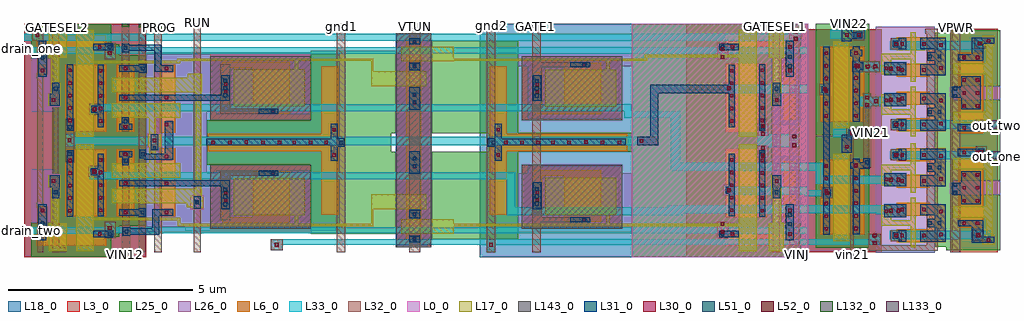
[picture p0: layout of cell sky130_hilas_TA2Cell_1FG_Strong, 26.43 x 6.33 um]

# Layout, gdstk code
from math import pi, radians
import gdstk
lib = gdstk.Library(unit=1e-6, precision=1e-09)
def R(c, l, rs):  # rectangles x0, y0, x1, y1
    for r in rs: c.add(gdstk.rectangle(r[:2], r[2:], *l))
def A(c, l, x, y, w, h, nx, ny, dx, dy):  # array of equal rectangles
    R(c, l, [(x+i*dx, y+j*dy, x+i*dx+w, y+j*dy+h) for i in range(nx) for j in range(ny)])
L0_0 = (0, 0)
L3_0 = (3, 0)
L6_0 = (6, 0)
L17_0 = (17, 0)
L18_0 = (18, 0)
L25_0 = (25, 0)
L26_0 = (26, 0)
L30_0 = (30, 0)
L31_0 = (31, 0)
L32_0 = (32, 0)
L33_0 = (33, 0)
L51_0 = (51, 0)
L52_0 = (52, 0)
L132_0 = (132, 0)
L133_0 = (133, 0)
L143_0 = (143, 0)

sky130_hilas_pfetmirror0 = lib.new_cell('sky130_hilas_pFETmirror02')
R(sky130_hilas_pfetmirror0, L3_0, [(0.14,0.14,1.39,2.98)])
R(sky130_hilas_pfetmirror0, L6_0, [(0.32,0.61,1,1.49), (0.32,1.49,1,1.9), (0.32,1.9,1,2.79)])
R(sky130_hilas_pfetmirror0, L17_0, [(0.97,0.15,1.3,0.42), (1.08,0.37,1.25,0.89), (0.18,0.89,1.25,1.19), (1.08,1.19,1.25,2.2), (0.18,2.2,1.25,2.5)])
R(sky130_hilas_pfetmirror0, L25_0, [(0,0,1.45,1.51), (0,1.88,1.45,2.92)])
R(sky130_hilas_pfetmirror0, L26_0, [(0.18,1.51,1.45,1.88)])
R(sky130_hilas_pfetmirror0, L30_0, [(1.09,0.24,1.18,0.33), (0.435,0.69,0.525,0.78), (0.795,0.69,0.885,0.78), (0.435,1.3,0.525,1.39), (0.795,1.3,0.885,1.39), (0.435,1.65,0.525,1.74), (0.795,1.65,0.885,1.74), (0.435,2.005,0.525,2.095), (0.795,2.005,0.885,2.095), (0.435,2.605,0.525,2.695), (0.795,2.605,0.885,2.695)])
R(sky130_hilas_pfetmirror0, L31_0, [(0.69,0.2,0.99,0.37), (0.97,0.2,1.3,0.37), (0.69,0.37,0.99,0.65), (0.32,0.65,0.99,0.82), (0.395,1.25,0.925,2.145), (0.31,2.55,1.015,2.74)])

m2_m1_cdns_676221289322 = lib.new_cell('M2_M1_CDNS_676221289322')
R(m2_m1_cdns_676221289322, L31_0, [(-0.09,-0.09,0.09,0.09)])
R(m2_m1_cdns_676221289322, L32_0, [(-0.115,-0.115,0.115,0.115)])
R(m2_m1_cdns_676221289322, L51_0, [(-0.05,-0.05,0.05,0.05)])

m3_m2_cdns_676221289323 = lib.new_cell('M3_M2_CDNS_676221289323')
R(m3_m2_cdns_676221289323, L32_0, [(-0.115,-0.115,0.115,0.115)])
R(m3_m2_cdns_676221289323, L33_0, [(-0.09,-0.09,0.09,0.09)])
R(m3_m2_cdns_676221289323, L52_0, [(-0.05,-0.05,0.05,0.05)])

sky130_hilas_li2m2 = lib.new_cell('sky130_hilas_li2m2')
R(sky130_hilas_li2m2, L32_0, [(-0.11,-0.125,0.19,0.175)])
R(sky130_hilas_li2m2, L33_0, [(-0.11,-0.125,0.19,0.175)])
sky130_hilas_li2m2.add(gdstk.Reference(m2_m1_cdns_676221289322, (0.04,0.02)))
sky130_hilas_li2m2.add(gdstk.Reference(m3_m2_cdns_676221289323, (0.04,0.02)))

sky130_hilas_nfet03 = lib.new_cell('sky130_hilas_nFET03')
R(sky130_hilas_nfet03, L6_0, [(-0.31,-0.06,0.58,0.29), (0.1,0,0.4,0.2)])
R(sky130_hilas_nfet03, L17_0, [(0.07,-0.2,0.2,0.43), (0.1,0.1,0.2,0.2)])
R(sky130_hilas_nfet03, L26_0, [(-0.44,-0.36,0.725,0.58)])
R(sky130_hilas_nfet03, L30_0, [(-0.205,0.07,-0.115,0.16), (0.385,0.07,0.475,0.16)])
R(sky130_hilas_nfet03, L31_0, [(-0.26,-0.03,-0.06,0.28), (0.33,-0.02,0.53,0.28), (-0.2,0.1,-0.1,0.2), (0.4,0.1,0.5,0.2)])

m2_m1_cdns_676221289320 = lib.new_cell('M2_M1_CDNS_676221289320')
R(m2_m1_cdns_676221289320, L31_0, [(-0.19,-0.09,0.19,0.09)])
R(m2_m1_cdns_676221289320, L32_0, [(-0.19,-0.09,0.19,0.09)])
R(m2_m1_cdns_676221289320, L51_0, [(-0.15,-0.05,-0.05,0.05), (0.05,-0.05,0.15,0.05)])

m3_m2_cdns_676221289321 = lib.new_cell('M3_M2_CDNS_676221289321')
R(m3_m2_cdns_676221289321, L32_0, [(-0.19,-0.09,0.19,0.09)])
R(m3_m2_cdns_676221289321, L33_0, [(-0.19,-0.09,0.19,0.09)])
R(m3_m2_cdns_676221289321, L52_0, [(-0.15,-0.05,-0.05,0.05), (0.05,-0.05,0.15,0.05)])

sky130_hilas_nmirror03 = lib.new_cell('sky130_hilas_nMirror03')
R(sky130_hilas_nmirror03, L6_0, [(0.565,0.33,1.605,0.34), (1.6,0.33,1.89,1.36), (1.45,0.34,1.6,1.35), (0.565,1.35,1.605,1.36)])
R(sky130_hilas_nmirror03, L17_0, [(0.945,0.19,1.075,0.21), (0.945,0.33,1.075,0.34), (0.15,0.36,0.42,0.69), (0.15,0.69,0.42,0.77), (0.15,0.77,1.075,0.92), (0.15,0.77,0.895,0.82), (0.945,1.35,1.075,1.36), (0.945,1.48,1.075,1.5)])
R(sky130_hilas_nmirror03, L25_0, [(1.6,0.2,1.91,1.49)])
R(sky130_hilas_nmirror03, L26_0, [(0,0.04,0.435,1.65), (0.435,0.205,1.6,0.465), (1.325,0.465,1.6,0.815), (0.435,0.815,1.6,0.875), (1.325,0.875,1.6,1.225), (0.435,1.225,1.6,1.485)])
R(sky130_hilas_nmirror03, L30_0, [(0.24,0.48,0.33,0.57), (1.715,0.49,1.805,0.58), (1.715,1.11,1.805,1.2)])
R(sky130_hilas_nmirror03, L31_0, [(0.225,0.33,0.815,0.69), (1.4,0.34,1.89,0.64), (0.225,0.36,0.445,0.69), (1.6,0.38,1.89,1.35), (1.41,0.73,1.6,0.96), (1.4,1.05,1.89,1.35)])
R(sky130_hilas_nmirror03, L32_0, [(0.225,0.33,0.815,0.69), (1.39,0.7,1.69,1), (1.39,0.7,1.77,1)])
R(sky130_hilas_nmirror03, L33_0, [(0.225,0.33,0.815,0.69), (0.02,0.435,0.39,0.61)])
R(sky130_hilas_nmirror03, L51_0, [(1.41,0.795,1.51,0.895), (1.67,0.795,1.77,0.895)])
sky130_hilas_nmirror03.add(gdstk.Reference(sky130_hilas_li2m2, (0.51,1.16)))
sky130_hilas_nmirror03.add(gdstk.Reference(sky130_hilas_nfet03, (0.875,0.36)))
sky130_hilas_nmirror03.add(gdstk.Reference(sky130_hilas_nfet03, (0.875,1.07)))
sky130_hilas_nmirror03.add(gdstk.Reference(m2_m1_cdns_676221289320, (0.51,0.51)))
sky130_hilas_nmirror03.add(gdstk.Reference(m3_m2_cdns_676221289321, (0.51,0.51)))

sky130_hilas_dualtacore0 = lib.new_cell('sky130_hilas_DualTACore01')
R(sky130_hilas_dualtacore0, L25_0, [(2.015,0.55,2.09,1.45), (1.6,1.45,2.09,1.67), (1.91,1.67,2.09,2.95), (1.6,2.95,2.105,2.98), (1.6,2.98,3.36,3.11), (1.6,3.11,2.105,3.17), (1.91,3.17,2.09,4.45), (1.6,4.45,2.09,4.67), (2.015,4.67,2.09,5.54)])
A(sky130_hilas_dualtacore0, L26_0, 0.435, 1.45, 1.165, 0.22, 1, 3, 0, 1.5)
R(sky130_hilas_dualtacore0, L31_0, [(2.055,1.575,2.34,1.895), (2.055,4.195,2.32,4.495)])
R(sky130_hilas_dualtacore0, L32_0, [(1.38,0.205,1.68,5.925), (2.01,0.215,2.28,5.915), (2.035,1.575,2.265,1.895), (2.035,4.195,2.265,4.495)])
R(sky130_hilas_dualtacore0, L33_0, [(0.38,0.365,3.09,0.595), (0.39,2.535,3.3,2.755), (0.65,3.355,3.3,3.585), (0.39,5.495,2.94,5.725)])
R(sky130_hilas_dualtacore0, L51_0, [(2.1,1.575,2.2,1.675), (2.1,1.795,2.2,1.895), (2.1,4.195,2.2,4.295), (2.1,4.395,2.2,4.495)])
sky130_hilas_dualtacore0.add(gdstk.Reference(sky130_hilas_pfetmirror0, (1.91,6.025), x_reflection=True))
sky130_hilas_dualtacore0.add(gdstk.Reference(sky130_hilas_pfetmirror0, (1.91,0.065)))
sky130_hilas_dualtacore0.add(gdstk.Reference(sky130_hilas_nmirror03, (0,4.47)))
sky130_hilas_dualtacore0.add(gdstk.Reference(sky130_hilas_nmirror03, (0,4.655), x_reflection=True))
sky130_hilas_dualtacore0.add(gdstk.Reference(sky130_hilas_nmirror03, (0,1.465)))
sky130_hilas_dualtacore0.add(gdstk.Reference(sky130_hilas_nmirror03, (0,1.65), x_reflection=True))
sky130_hilas_dualtacore0.add(gdstk.Reference(sky130_hilas_li2m2, (2.82,3.425)))
sky130_hilas_dualtacore0.add(gdstk.Reference(sky130_hilas_li2m2, (2.81,2.705)))
sky130_hilas_dualtacore0.add(gdstk.Reference(sky130_hilas_li2m2, (2.77,5.645)))
sky130_hilas_dualtacore0.add(gdstk.Reference(sky130_hilas_li2m2, (2.73,0.455)))

sky130_hilas_horiztransc = lib.new_cell('sky130_hilas_horizTransCell01')
R(sky130_hilas_horiztransc, L0_0, [(3.815,1.86,4.185,2.23)])
R(sky130_hilas_horiztransc, L3_0, [(1.485,-0.02,4.785,3.24)])
R(sky130_hilas_horiztransc, L6_0, [(2.555,0.29,4.455,0.76), (4.12,1.05,4.45,2.585), (2.555,1.07,3.665,2.91)])
R(sky130_hilas_horiztransc, L17_0, [(2.895,0.15,3.395,0.88), (3.715,0.15,4.115,0.9), (0.355,0.83,3.395,0.89), (2.895,0.855,3.395,3.05), (3.825,0.9,4.115,0.92), (3.825,0.92,4.055,1.58), (3.785,1.58,4.055,1.87), (3.785,1.87,4.055,2.21)])
R(sky130_hilas_horiztransc, L25_0, [(0,0,4.585,0.92), (0,0.92,3.795,3.2)])
R(sky130_hilas_horiztransc, L26_0, [(3.795,0.92,4.58,2.715)])
A(sky130_hilas_horiztransc, L30_0, 3.495, 1.2, 0.09, 0.09, 1, 5, 0, 0.34)
A(sky130_hilas_horiztransc, L30_0, 2.665, 1.21, 0.09, 0.09, 1, 5, 0, 0.34)
R(sky130_hilas_horiztransc, L30_0, [(2.69,0.57,2.78,0.66), (4.24,0.57,4.33,0.66), (4.24,1.205,4.33,1.295), (3.885,2,3.975,2.09)])
R(sky130_hilas_horiztransc, L31_0, [(4.175,0.45,4.395,0.8), (2.375,0.53,2.905,0.7), (4.175,0.8,4.395,0.83), (4.175,0.83,4.395,1.41), (3.455,1.08,3.625,2.69), (2.625,1.09,2.795,2.78), (4.175,1.41,4.395,1.42), (3.825,1.58,4.025,1.59), (3.825,1.59,4.025,1.88), (3.815,1.88,4.055,2.21), (3.455,2.69,3.625,2.88)])
R(sky130_hilas_horiztransc, L32_0, [(3.825,0.13,4.015,1.58), (4.265,0.13,4.435,0.77), (2.315,0.5,2.615,0.94), (4.155,0.77,4.435,1.32), (4.155,1.32,4.435,1.37), (4.265,1.37,4.435,1.46), (4.265,1.46,4.435,3.15), (3.825,1.58,4.055,1.61), (3.805,1.61,4.055,1.88), (3.815,1.88,4.055,1.89), (3.815,1.89,4.045,2.13), (3.815,2.13,4.045,3.15), (3.425,2.56,3.665,2.94)])
R(sky130_hilas_horiztransc, L33_0, [(2.315,0.61,2.615,0.62), (2.315,0.62,4.785,0.8), (2.315,0.8,2.615,0.94)])
R(sky130_hilas_horiztransc, L51_0, [(2.415,0.565,2.515,0.665), (4.23,0.835,4.33,0.935), (4.23,1.085,4.33,1.185), (3.875,1.695,3.975,1.795), (3.495,2.735,3.595,2.835)])
R(sky130_hilas_horiztransc, L52_0, [(2.415,0.615,2.515,0.715), (2.415,0.835,2.515,0.935)])

sky130_hilas_tuncap01 = lib.new_cell('sky130_hilas_TunCap01')
R(sky130_hilas_tuncap01, L3_0, [(0,0,0.94,1.645)])
R(sky130_hilas_tuncap01, L6_0, [(0.27,0.16,0.67,1.485)])
R(sky130_hilas_tuncap01, L18_0, [(0,0,0.94,1.645)])
R(sky130_hilas_tuncap01, L26_0, [(0,0,0.835,1.645)])

m2_m1_cdns_676221289324 = lib.new_cell('M2_M1_CDNS_676221289324')
R(m2_m1_cdns_676221289324, L31_0, [(-0.09,-0.09,0.09,0.09)])
R(m2_m1_cdns_676221289324, L32_0, [(-0.115,-0.115,0.115,0.115)])
R(m2_m1_cdns_676221289324, L51_0, [(-0.05,-0.05,0.05,0.05)])

m3_m2_cdns_676221289325 = lib.new_cell('M3_M2_CDNS_676221289325')
R(m3_m2_cdns_676221289325, L32_0, [(-0.115,-0.115,0.115,0.115)])
R(m3_m2_cdns_676221289325, L33_0, [(-0.09,-0.09,0.09,0.09)])
R(m3_m2_cdns_676221289325, L52_0, [(-0.05,-0.05,0.05,0.05)])

sky130_hilas_li2m2_0 = lib.new_cell('sky130_hilas_li2m2_0')
R(sky130_hilas_li2m2_0, L32_0, [(-0.11,-0.125,0.19,0.175)])
R(sky130_hilas_li2m2_0, L33_0, [(-0.11,-0.125,0.19,0.175)])
sky130_hilas_li2m2_0.add(gdstk.Reference(m2_m1_cdns_676221289324, (0.04,0.02)))
sky130_hilas_li2m2_0.add(gdstk.Reference(m3_m2_cdns_676221289325, (0.04,0.02)))

m1_od_cdns_676221289326 = lib.new_cell('M1_OD_CDNS_676221289326')
R(m1_od_cdns_676221289326, L6_0, [(-0.075,-0.18,0.075,0.18)])
R(m1_od_cdns_676221289326, L30_0, [(-0.045,-0.15,0.045,-0.06), (-0.045,0.06,0.045,0.15)])
R(m1_od_cdns_676221289326, L31_0, [(-0.085,-0.19,0.085,0.19)])

m2_m1_cdns_676221289327 = lib.new_cell('M2_M1_CDNS_676221289327')
R(m2_m1_cdns_676221289327, L31_0, [(-0.09,-0.29,0.09,0.29)])
R(m2_m1_cdns_676221289327, L32_0, [(-0.09,-0.29,0.09,0.29)])
A(m2_m1_cdns_676221289327, L51_0, -0.05, -0.25, 0.1, 0.1, 1, 3, 0, 0.2)

sky130_hilas_fgvaractorc = lib.new_cell('sky130_hilas_FGVaractorCapacitor02')
R(sky130_hilas_fgvaractorc, L3_0, [(0,0,2.72,1.735)])
R(sky130_hilas_fgvaractorc, L6_0, [(1.15,0.18,2.15,1.425), (0.33,0.43,0.55,1.425), (0.33,1.425,2.15,1.575)])
R(sky130_hilas_fgvaractorc, L17_0, [(0.64,0.375,2.56,1.375)])
R(sky130_hilas_fgvaractorc, L18_0, [(0,0,2.72,1.735)])
R(sky130_hilas_fgvaractorc, L26_0, [(0.17,0.16,2.72,1.695)])
R(sky130_hilas_fgvaractorc, L30_0, [(1.65,0.195,1.74,0.285)])
R(sky130_hilas_fgvaractorc, L31_0, [(1.32,0.17,1.85,0.305), (0.3,0.52,0.53,1.21)])
R(sky130_hilas_fgvaractorc, L32_0, [(0.28,0.17,0.54,0.49), (0.285,0.17,1.85,0.305), (0.28,0.47,0.54,1.26)])
R(sky130_hilas_fgvaractorc, L51_0, [(1.645,0.19,1.745,0.29)])
R(sky130_hilas_fgvaractorc, L143_0, [(0,0,2.72,1.735)])
sky130_hilas_fgvaractorc.add(gdstk.Reference(m1_od_cdns_676221289326, (0.42,0.87)))
sky130_hilas_fgvaractorc.add(gdstk.Reference(m2_m1_cdns_676221289327, (0.41,0.875)))

m1_od_cdns_676221289328 = lib.new_cell('M1_OD_CDNS_676221289328')
R(m1_od_cdns_676221289328, L6_0, [(-0.075,-0.18,0.075,0.18)])
R(m1_od_cdns_676221289328, L30_0, [(-0.045,-0.15,0.045,-0.06), (-0.045,0.06,0.045,0.15)])
R(m1_od_cdns_676221289328, L31_0, [(-0.085,-0.19,0.085,0.19)])

m2_m1_cdns_676221289329 = lib.new_cell('M2_M1_CDNS_676221289329')
R(m2_m1_cdns_676221289329, L31_0, [(-0.09,-0.19,0.09,0.19)])
R(m2_m1_cdns_676221289329, L32_0, [(-0.09,-0.19,0.09,0.19)])
R(m2_m1_cdns_676221289329, L51_0, [(-0.05,-0.15,0.05,-0.05), (-0.05,0.05,0.05,0.15)])

sky130_hilas_wellcontact = lib.new_cell('sky130_hilas_wellContact')
R(sky130_hilas_wellcontact, L3_0, [(-14.125,-4.57,-13.185,-2.84)])
R(sky130_hilas_wellcontact, L6_0, [(-13.855,-4.05,-13.455,-3.31)])
R(sky130_hilas_wellcontact, L18_0, [(-14.125,-4.57,-13.185,-2.84)])
R(sky130_hilas_wellcontact, L26_0, [(-13.96,-4.175,-13.345,-3.185)])
R(sky130_hilas_wellcontact, L31_0, [(-13.78,-4,-13.48,-3.395)])
R(sky130_hilas_wellcontact, L32_0, [(-13.78,-4.515,-13.48,-2.84)])
sky130_hilas_wellcontact.add(gdstk.Reference(m1_od_cdns_676221289328, (-13.635,-3.7)))
sky130_hilas_wellcontact.add(gdstk.Reference(m2_m1_cdns_676221289329, (-13.635,-3.695)))

sky130_hilas_fgbias2x1ce = lib.new_cell('sky130_hilas_FGBias2x1cell')
R(sky130_hilas_fgbias2x1ce, L0_0, [(6.745,0,11.53,3.26), (6.745,3.07,11.53,6.33)])
R(sky130_hilas_fgbias2x1ce, L3_0, [(0.515,1.54,1.16,3.96), (10.57,6.15,10.76,6.18), (8.23,6.18,11.53,6.19)])
R(sky130_hilas_fgbias2x1ce, L6_0, [(9.34,1.135,10.34,2.89), (2.9,1.15,3.37,2.99), (0.645,1.54,1.045,3.96), (3.01,2.88,6.63,3.35), (2.9,3.24,3.37,5.17)])
R(sky130_hilas_fgbias2x1ce, L17_0, [(0.505,0.635,1.935,1.035), (0.81,0.85,7.27,0.91), (6.06,0.865,6.16,1.785), (6.06,4.445,6.16,5.38), (0.505,5.31,1.935,5.71), (1.65,5.32,7.175,5.38), (7.1,5.32,7.175,5.48)])
R(sky130_hilas_fgbias2x1ce, L18_0, [(8.23,0,11.53,6.33), (0.375,1.905,1.315,1.975)])
R(sky130_hilas_fgbias2x1ce, L25_0, [(1.335,0.485,3.68,2.865), (2.88,2.86,6.985,3.37), (1.335,3.365,3.68,5.86)])
R(sky130_hilas_fgbias2x1ce, L26_0, [(1.21,0.485,1.335,1.79), (0.78,1.415,0.96,1.805), (1.21,1.79,1.315,1.925), (1.315,1.79,1.335,4.565), (0.78,1.805,0.96,2.095), (0.375,1.925,1.315,4.42), (0.78,2.095,0.96,4.085), (1.21,4.42,1.315,4.565), (1.21,4.565,1.335,5.86)])
R(sky130_hilas_fgbias2x1ce, L30_0, [(3.09,2.73,3.18,2.82), (3.3,3.07,3.39,3.16), (3.73,3.07,3.82,3.16), (4.17,3.07,4.26,3.16), (4.57,3.07,4.66,3.16), (5.01,3.07,5.1,3.16), (5.91,3.07,6,3.16), (6.37,3.07,6.46,3.16), (5.47,3.08,5.56,3.17), (3.09,3.41,3.18,3.5)])
R(sky130_hilas_fgbias2x1ce, L31_0, [(4.07,1.99,4.3,2.03), (3.04,2.61,3.23,3.03), (2.85,2.99,3.04,3.22), (3.04,3.03,6.59,3.21), (3.04,3.21,3.23,3.62)])
R(sky130_hilas_fgbias2x1ce, L32_0, [(0.72,0.14,1.02,6.19), (2.83,0.14,3.06,6.19), (4.05,0.14,4.28,6.19), (10.57,0.14,10.76,0.19), (11.01,0.14,11.29,6.19), (10.16,2.7,10.44,3.02), (2.83,2.96,3.06,3.25), (11.01,3.02,11.29,3.34), (10.16,3.3,10.44,3.62), (10.57,6.15,10.76,6.19)])
R(sky130_hilas_fgbias2x1ce, L33_0, [(0,0.66,9.1,0.76), (0,0.76,9.22,0.81), (9.06,0.81,9.22,0.83), (9.49,1.7,11.53,1.91), (10.16,2.7,10.44,3.01), (10.16,2.98,11.29,3.33), (11.01,3.05,11.29,3.33), (10.16,3.33,10.44,3.61), (9.47,4.45,11.53,4.67), (0,5.51,9.12,5.69)])
R(sky130_hilas_fgbias2x1ce, L51_0, [(2.96,3.055,3.06,3.155)])
R(sky130_hilas_fgbias2x1ce, L52_0, [(10.25,2.7,10.35,2.8), (10.25,2.92,10.35,3.02), (11.1,2.985,11.2,3.085), (11.1,3.225,11.2,3.325), (10.25,3.3,10.35,3.4), (10.25,3.505,10.35,3.605)])
sky130_hilas_fgbias2x1ce.add(gdstk.Reference(sky130_hilas_horiztransc, (6.745,0.02)))
sky130_hilas_fgbias2x1ce.add(gdstk.Reference(sky130_hilas_horiztransc, (6.745,6.31), x_reflection=True))
sky130_hilas_fgbias2x1ce.add(gdstk.Reference(sky130_hilas_tuncap01, (0.375,0.31)))
sky130_hilas_fgbias2x1ce.add(gdstk.Reference(sky130_hilas_tuncap01, (0.375,4.42)))
sky130_hilas_fgbias2x1ce.add(gdstk.Reference(sky130_hilas_li2m2_0, (9.34,4.56)))
sky130_hilas_fgbias2x1ce.add(gdstk.Reference(sky130_hilas_li2m2_0, (9.34,1.8)))
sky130_hilas_fgbias2x1ce.add(gdstk.Reference(sky130_hilas_fgvaractorc, (3.77,0.78)))
sky130_hilas_fgbias2x1ce.add(gdstk.Reference(sky130_hilas_fgvaractorc, (3.77,5.45), x_reflection=True))
sky130_hilas_fgbias2x1ce.add(gdstk.Reference(sky130_hilas_wellcontact, (14.5,6.27)))
sky130_hilas_fgbias2x1ce.add(gdstk.Reference(sky130_hilas_wellcontact, (14.5,8)))

c_sky130_hilas_horiztransc = lib.new_cell('sky130_hilas_horizTransCell01a')
R(c_sky130_hilas_horiztransc, L0_0, [(3.97,1.88,4.34,2.25)])
R(c_sky130_hilas_horiztransc, L3_0, [(1.64,0,4.95,3.26)])
R(c_sky130_hilas_horiztransc, L6_0, [(2.72,0.31,4.62,0.78), (4.32,1.115,4.585,1.39), (0.86,1.12,1.28,2.95), (1.97,1.12,2.44,2.93), (2.72,1.12,3.83,2.93)])
R(c_sky130_hilas_horiztransc, L17_0, [(3.06,0.17,3.54,1.07), (3.79,0.17,4.28,0.92), (3.99,0.92,4.28,0.94), (3.99,0.94,4.22,1.6), (0.72,1.01,3.54,1.07), (3.06,1.01,3.54,3.07), (0.72,1.46,2.58,1.86), (3.95,1.6,4.22,1.91), (3.95,1.9,4.3,2.23), (0.72,2.15,2.58,2.55)])
R(c_sky130_hilas_horiztransc, L18_0, [(1.64,0,4.95,3.26), (0.59,0.82,1.64,3.2)])
R(c_sky130_hilas_horiztransc, L25_0, [(2.59,0.02,4.75,0.555), (2.37,0.555,4.75,0.94), (1.64,0.86,4.155,3.22), (2.37,0.905,3.955,0.965)])
R(c_sky130_hilas_horiztransc, L26_0, [(0,0.775,1.64,3.3), (4.155,0.94,4.745,2.38)])
A(c_sky130_hilas_horiztransc, L30_0, 2.16, 1.17, 0.09, 0.09, 1, 3, 0, 0.79)
A(c_sky130_hilas_horiztransc, L30_0, 3.66, 1.22, 0.09, 0.09, 1, 5, 0, 0.34)
A(c_sky130_hilas_horiztransc, L30_0, 2.83, 1.23, 0.09, 0.09, 1, 5, 0, 0.34)
R(c_sky130_hilas_horiztransc, L30_0, [(2.855,0.59,2.945,0.68), (4.405,0.59,4.495,0.68), (1.05,1.17,1.14,1.26), (4.405,1.225,4.495,1.315), (1.05,1.96,1.14,2.05), (4.11,2.02,4.2,2.11), (1.05,2.685,1.14,2.775)])
A(c_sky130_hilas_horiztransc, L31_0, 2.04, 1.13, 0.33, 0.17, 1, 3, 0, 0.79)
R(c_sky130_hilas_horiztransc, L31_0, [(4.35,0.47,4.55,0.82), (2.54,0.55,3.07,0.72), (4.35,0.82,4.56,0.85), (4.34,0.85,4.56,1.43), (3.62,1.1,3.79,2.71), (2.79,1.11,2.96,2.8), (0.915,1.13,1.265,1.3), (4.34,1.43,4.56,1.44), (3.99,1.6,4.19,1.61), (3.99,1.61,4.19,1.9), (3.98,1.9,4.25,2.23), (0.915,1.92,1.265,2.09), (0.915,2.64,1.14,2.88), (3.62,2.71,3.79,2.9)])
R(c_sky130_hilas_horiztransc, L32_0, [(3.99,0.15,4.18,1.6), (4.43,0.15,4.59,0.79), (2.47,0.52,2.77,0.96), (4.32,0.79,4.59,1.34), (4.32,1.34,4.6,1.39), (4.43,1.39,4.6,1.48), (4.43,1.48,4.59,3.17), (3.99,1.6,4.22,1.63), (3.97,1.63,4.22,1.9), (3.98,1.9,4.22,1.91), (3.98,1.91,4.21,2.15), (4.02,2.15,4.18,3.17), (3.59,2.58,3.83,2.96)])
R(c_sky130_hilas_horiztransc, L33_0, [(2.47,0.63,2.78,0.64), (2.47,0.64,4.95,0.82), (2.47,0.82,2.77,0.96)])
R(c_sky130_hilas_horiztransc, L51_0, [(2.58,0.585,2.68,0.685), (4.395,0.885,4.495,0.985), (4.04,1.715,4.14,1.815), (3.66,2.755,3.76,2.855)])
R(c_sky130_hilas_horiztransc, L52_0, [(2.58,0.75,2.68,0.85)])

sky130_hilas_poly2m1 = lib.new_cell('sky130_hilas_poly2m1')
R(sky130_hilas_poly2m1, L0_0, [(-0.11,-0.1,0.26,0.27)])
R(sky130_hilas_poly2m1, L17_0, [(-0.09,-0.08,0.24,0.25)])
R(sky130_hilas_poly2m1, L30_0, [(0.03,0.04,0.12,0.13)])
R(sky130_hilas_poly2m1, L31_0, [(-0.03,-0.18,0.18,0.25), (-0.01,-0.18,0.16,-0.165)])
R(sky130_hilas_poly2m1, L32_0, [(-0.03,-0.26,0.18,0.03), (-0.03,0.03,0.18,0.25)])
R(sky130_hilas_poly2m1, L51_0, [(0.025,-0.165,0.125,-0.065)])

sky130_hilas_fgtrans2x1c = lib.new_cell('sky130_hilas_FGtrans2x1cell')
R(sky130_hilas_fgtrans2x1c, L0_0, [(6.02,1.31,6.39,1.68)])
R(sky130_hilas_fgtrans2x1c, L6_0, [(2.37,1.15,2.84,2.99), (2.37,2.88,5.92,3.35), (2.37,3.24,2.84,5.17)])
R(sky130_hilas_fgtrans2x1c, L17_0, [(1.435,0.85,6.73,0.91), (3.46,0.89,3.56,1.785), (6.66,0.9,6.73,1.055), (1.435,0.905,1.495,1.69), (0,1.305,1.495,1.705), (6.04,1.33,6.32,1.36), (6.04,1.36,6.48,1.63), (6.08,1.63,6.48,1.86), (6.09,1.86,6.24,4.47), (7.32,2.525,7.5,3.81), (3.46,4.445,3.56,5.345), (6.08,4.47,6.46,4.97), (0,4.64,1.495,5.04), (1.435,4.665,1.495,5.35), (1.435,5.32,6.735,5.38)])
R(sky130_hilas_fgtrans2x1c, L18_0, [(2.345,0.72,6.53,5.51)])
R(sky130_hilas_fgtrans2x1c, L25_0, [(0.83,0.64,3.13,2.865), (0.95,2.515,5.94,3.715), (7.825,3.055,9.895,3.275), (0.83,3.365,3.13,5.59)])
R(sky130_hilas_fgtrans2x1c, L26_0, [(6.51,3.055,7.115,3.275)])
R(sky130_hilas_fgtrans2x1c, L30_0, [(6.165,1.45,6.255,1.54), (2.45,2.73,2.54,2.82), (2.66,3.07,2.75,3.16), (3.09,3.07,3.18,3.16), (3.53,3.07,3.62,3.16), (3.93,3.07,4.02,3.16), (4.37,3.07,4.46,3.16), (5.27,3.07,5.36,3.16), (5.73,3.07,5.82,3.16), (4.83,3.08,4.92,3.17), (2.45,3.41,2.54,3.5)])
R(sky130_hilas_fgtrans2x1c, L31_0, [(8.03,0.59,8.21,0.82), (7.23,0.61,8.19,0.79), (7.23,0.79,7.42,1.13), (7.6,1.1,7.78,1.33), (6.96,1.13,7.42,1.14), (7.77,1.13,7.98,1.3), (6.95,1.14,7.42,1.29), (6.96,1.29,7.42,1.3), (6.11,1.32,6.29,1.39), (6.11,1.39,6.29,1.6), (6.11,1.6,6.29,1.66), (5.32,1.92,6.935,2.09), (6.94,1.92,8.02,2.09), (8.05,2.5,8.23,2.73), (2.4,2.61,2.59,3.03), (6.855,2.65,7.63,2.77), (7.59,2.68,7.77,2.91), (7.96,2.71,8.01,2.88), (6.865,2.77,7.59,2.81), (6.88,2.85,6.96,2.86), (6.855,2.88,7.08,3.45), (2.22,2.99,2.4,3.22), (2.4,3.03,5.95,3.21), (2.4,3.21,2.59,3.62), (7.96,3.45,8.04,3.62), (8.05,3.57,8.24,3.8), (5.375,4.24,6.91,4.41), (6.94,4.24,8.02,4.41), (7.58,5,7.77,5.23), (6.96,5.03,7.35,5.2), (7.76,5.03,7.98,5.2), (7.18,5.2,7.35,5.59), (8.05,5.56,8.24,5.79), (7.18,5.59,8.06,5.76)])
R(sky130_hilas_fgtrans2x1c, L32_0, [(2.19,0.14,2.42,6.19), (6.11,0.14,6.29,1.32), (7.16,0.14,7.37,6.19), (7.59,0.14,7.78,6.19), (8.01,0.14,8.24,0.64), (9.93,0.14,10.12,0.19), (10.37,0.14,10.53,0.19), (8.02,0.56,8.21,0.85), (8.04,0.64,8.23,2.89), (8.54,0.64,8.55,0.65), (7.59,1.07,7.78,1.36), (6.11,1.32,6.29,1.66), (8.04,1.405,8.23,1.695), (6.11,1.66,6.29,6.19), (8.04,2.47,8.23,2.76), (7.59,2.65,7.78,2.94), (9.53,2.95,9.77,3.37), (2.22,2.96,2.41,3.25), (9.53,3.01,9.77,3.33), (8.04,3.4,8.25,6.19), (8.04,3.54,8.25,3.83), (7.57,4.97,7.78,5.26), (8.04,5.53,8.25,5.82), (9.93,6.13,10.12,6.19), (10.37,6.14,10.53,6.19)])
R(sky130_hilas_fgtrans2x1c, L33_0, [(10.81,0.64,10.89,0.82), (1.07,0.66,8.46,0.76), (1.07,0.76,8.58,0.81), (8.42,0.81,8.58,0.83), (1.07,2.11,9.12,2.3), (9.53,3.01,9.77,3.33), (1.07,3.04,9.54,3.23), (1.07,3.23,9.53,3.27), (1.07,3.96,9.08,4.15), (1.07,5.51,8.48,5.69), (10.81,5.51,10.89,5.69), (8.16,5.69,8.48,5.71)])
R(sky130_hilas_fgtrans2x1c, L51_0, [(8.065,0.655,8.165,0.755), (7.635,1.165,7.735,1.265), (6.16,1.445,6.26,1.545), (8.085,2.565,8.185,2.665), (7.625,2.745,7.725,2.845), (2.255,3.055,2.355,3.155), (8.095,3.635,8.195,3.735), (7.625,5.065,7.725,5.165), (8.095,5.625,8.195,5.725)])
R(sky130_hilas_fgtrans2x1c, L52_0, [(9.61,3.12,9.71,3.22)])
sky130_hilas_fgtrans2x1c.add(gdstk.Reference(c_sky130_hilas_horiztransc, (5.94,0)))
sky130_hilas_fgtrans2x1c.add(gdstk.Reference(c_sky130_hilas_horiztransc, (5.94,6.33), x_reflection=True))
sky130_hilas_fgtrans2x1c.add(gdstk.Reference(sky130_hilas_fgvaractorc, (5.85,2.515), rotation=pi))
sky130_hilas_fgtrans2x1c.add(gdstk.Reference(sky130_hilas_fgvaractorc, (5.85,3.715), rotation=pi, x_reflection=True))
sky130_hilas_fgtrans2x1c.add(gdstk.Reference(sky130_hilas_poly2m1, (7.28,3.08)))
sky130_hilas_fgtrans2x1c.add(gdstk.Reference(sky130_hilas_li2m2_0, (8.94,3.99)))
sky130_hilas_fgtrans2x1c.add(gdstk.Reference(sky130_hilas_li2m2_0, (8.95,2.3)))

sky130_hilas_ptransistor = lib.new_cell('sky130_hilas_pTransistorVert01')
R(sky130_hilas_ptransistor, L3_0, [(-3.765,-4.44,-1.63,-1.45)])
R(sky130_hilas_ptransistor, L6_0, [(-3.29,-3.96,-2.1,-1.93), (-3.245,-3.925,-2.165,-1.975)])
R(sky130_hilas_ptransistor, L17_0, [(-2.95,-4.11,-2.51,-1.75)])
R(sky130_hilas_ptransistor, L25_0, [(-3.42,-4.59,-1.97,-1.57)])
A(sky130_hilas_ptransistor, L30_0, -2.37, -3.84, 0.09, 0.09, 1, 6, 0, 0.34)
A(sky130_hilas_ptransistor, L30_0, -3.18, -3.83, 0.09, 0.09, 1, 6, 0, 0.34)
R(sky130_hilas_ptransistor, L31_0, [(-2.41,-3.98,-2.23,-1.93), (-3.22,-3.97,-3.04,-1.92), (-2.49,-3.88,-2.16,-3.71), (-2.41,-3.71,-2.24,-1.93)])

m3_m2_cdns_6762212893210 = lib.new_cell('M3_M2_CDNS_6762212893210')
R(m3_m2_cdns_6762212893210, L32_0, [(-0.09,-0.19,0.09,0.19)])
R(m3_m2_cdns_6762212893210, L33_0, [(-0.09,-0.19,0.09,0.19)])
R(m3_m2_cdns_6762212893210, L52_0, [(-0.05,-0.15,0.05,-0.05), (-0.05,0.05,0.05,0.15)])

c_sky130_hilas_ptransistor = lib.new_cell('sky130_hilas_pTransistorPair')
R(c_sky130_hilas_ptransistor, L3_0, [(2.67,-1.69,3.12,-1.46), (1.195,-1.4,3.33,-1.33)])
R(c_sky130_hilas_ptransistor, L17_0, [(2.25,-4.395,2.52,-4.025), (2.27,-4.07,2.48,-4.06), (2.25,-1.37,2.52,-1)])
R(c_sky130_hilas_ptransistor, L18_0, [(1.195,-4.39,3.33,1.65)])
R(c_sky130_hilas_ptransistor, L30_0, [(2.345,-4.275,2.435,-4.185), (2.345,-1.25,2.435,-1.16)])
R(c_sky130_hilas_ptransistor, L31_0, [(2.25,-4.485,2.52,-4.355), (2.25,-4.395,2.52,-4.065), (2.49,-4.31,2.655,-4.135), (2.73,-3.49,2.83,-3.465), (2.55,-3.465,2.83,-3.29), (2.79,-3.29,2.83,-3.28), (1.74,-1.92,1.92,-0.86), (2.25,-1.525,2.52,-1.33), (2.25,-1.37,2.52,-1.04), (2.83,-0.9,3.01,-0.67), (2.79,-0.78,2.87,-0.7), (2.79,-0.7,3.01,-0.61)])
R(c_sky130_hilas_ptransistor, L32_0, [(2.84,-3.525,3.27,-3.225), (2.83,-2.65,3.04,-0.88), (2.83,-2.54,3.04,-2.22), (2.83,-0.93,3.04,-0.64)])
R(c_sky130_hilas_ptransistor, L33_0, [(2.01,-4.37,2.88,-4.13), (2.55,-3.525,3.27,-3.225), (2.73,-2.555,3.2,-2.305), (2.83,-2.555,3.065,-2.305), (2.25,-1.69,3.12,-1.46)])
R(c_sky130_hilas_ptransistor, L51_0, [(2.875,-0.835,2.975,-0.735)])
c_sky130_hilas_ptransistor.add(gdstk.Reference(sky130_hilas_li2m2_0, (1.75,-2.78)))
c_sky130_hilas_ptransistor.add(gdstk.Reference(sky130_hilas_li2m2_0, (2.75,-4.21), rotation=pi))
c_sky130_hilas_ptransistor.add(gdstk.Reference(sky130_hilas_li2m2_0, (2.48,-1.59)))
c_sky130_hilas_ptransistor.add(gdstk.Reference(sky130_hilas_li2m2_0, (2.72,-3.365), rotation=pi))
c_sky130_hilas_ptransistor.add(gdstk.Reference(sky130_hilas_ptransistor, (4.96,0.05)))
c_sky130_hilas_ptransistor.add(gdstk.Reference(sky130_hilas_ptransistor, (4.96,3.1)))
c_sky130_hilas_ptransistor.add(gdstk.Reference(m3_m2_cdns_676221289321, (3.05,-3.375)))
c_sky130_hilas_ptransistor.add(gdstk.Reference(m3_m2_cdns_6762212893210, (2.935,-2.44)))

sky130_hilas_ta2cell_1fg = lib.new_cell('sky130_hilas_TA2Cell_1FG_Strong')
R(sky130_hilas_ta2cell_1fg, L3_0, [(25.115,0.14,26.365,0.33), (5.04,0.72,7.76,0.78), (5.04,5.45,7.76,5.51), (0.22,5.87,0.52,6.19), (20.735,5.87,21.055,6.17), (25.115,6.01,26.365,6.19)])
R(sky130_hilas_ta2cell_1fg, L6_0, [(10.515,2.27,10.635,4.465)])
R(sky130_hilas_ta2cell_1fg, L17_0, [(4.23,1.46,4.445,1.86), (4.23,4.47,4.43,4.87)])
R(sky130_hilas_ta2cell_1fg, L18_0, [(12.335,0,21.235,6.33)])
R(sky130_hilas_ta2cell_1fg, L26_0, [(10.06,0.28,10.08,1.92), (3.31,0.7,7.76,0.775), (13.385,0.7,16.45,0.95), (4.95,0.775,7.76,0.95), (4.95,0.95,5.21,2.28), (13.385,0.95,13.645,2.28), (16.185,0.95,16.45,2.28), (10.245,1.725,10.86,3.925), (10.86,1.79,11.02,4.565), (10.06,1.92,10.245,4.42), (4.95,3.95,5.21,5.28), (10.06,4.42,10.08,5.59), (13.385,5.17,13.645,5.28), (15.865,5.17,16.45,5.28), (4.95,5.28,7.76,5.555), (13.385,5.28,16.45,5.53), (10.06,5.59,10.08,6.065)])
R(sky130_hilas_ta2cell_1fg, L30_0, [(10.525,0.455,10.615,0.545), (10.525,1.125,10.615,1.215), (10.525,5.13,10.615,5.22), (10.525,5.8,10.615,5.89)])
R(sky130_hilas_ta2cell_1fg, L31_0, [(10.425,0.405,10.725,0.58), (10.425,1.055,10.725,1.29), (25.285,2.93,25.8,2.935), (16.61,3.035,17.175,3.27), (16.95,3.035,17.175,4.67), (25.99,3.41,25.995,3.465), (16.955,4.45,19.185,4.67), (10.425,5.065,10.725,5.265), (22.685,5.07,22.725,5.08), (22.69,5.255,22.725,5.26), (10.425,5.765,10.725,5.935), (22.145,6.155,22.415,6.275)])
R(sky130_hilas_ta2cell_1fg, L32_0, [(2.65,0,2.875,0.27), (20.275,0.14,20.465,0.19), (20.715,0.14,20.995,0.245), (20.715,0.14,20.995,0.19), (25.075,0.14,25.345,0.35), (0.915,0.15,1.145,0.27), (22.875,0.18,24.745,0.2), (6.685,0.19,7.005,0.49), (12.535,0.19,12.765,0.49), (22.875,0.2,24.745,0.23), (22.875,0.23,24.745,0.28), (22.875,0.28,24.745,0.31), (22.875,0.31,23.195,0.34), (23.195,0.31,24.745,0.33), (22.875,0.34,23.195,0.64), (5.32,1.005,5.58,1.3), (16.61,3.035,17.125,3.27), (22.725,4.095,23.145,4.345), (5.32,4.945,5.58,5.225), (0.22,5.87,0.52,6.19), (20.735,5.87,21.055,6.11), (3.52,5.965,3.73,6.33), (4.6,5.97,4.78,6.33), (2.64,5.985,2.845,6.33), (3.11,5.99,3.3,6.33), (13.755,5.995,13.985,6.19), (10.425,6.03,10.725,6.33), (25.075,6.04,25.345,6.19), (25.075,6.04,25.345,6.33), (24.405,6.05,24.745,6.19), (0.77,6.07,0.96,6.33), (20.275,6.095,20.465,6.19), (13.755,6.11,13.985,6.33), (20.275,6.11,20.465,6.33), (20.715,6.11,21.055,6.17), (20.715,6.17,21.055,6.19), (8.47,6.19,8.7,6.33), (12.535,6.19,12.765,6.33)])
R(sky130_hilas_ta2cell_1fg, L33_0, [(6.685,0.19,7.005,0.34), (12.535,0.19,12.765,0.34), (6.685,0.34,23.195,0.49), (22.875,0.49,23.195,0.64), (0,0.64,0.13,0.82), (13.065,1.14,17.825,1.2), (13.065,1.2,23.305,1.21), (13.065,1.21,23.435,1.36), (13.065,1.36,13.295,1.51), (17.435,1.36,23.455,1.41), (13.065,1.51,13.295,2.11), (21.145,1.655,21.805,1.82), (21.435,2,23.445,2.21), (9.785,2.11,13.295,2.3), (21.435,2.21,21.645,2.35), (17.515,2.35,21.645,2.56), (17.515,2.56,17.765,3.2), (26.24,2.66,26.36,2.88), (26.255,2.66,26.425,2.88), (9.785,3.04,16.875,3.27), (17.515,3.2,17.765,3.24), (17.515,3.24,17.765,3.96), (21.915,3.25,22.235,3.48), (22.825,3.25,23.01,3.48), (26.225,3.48,26.425,3.71), (26.255,3.48,26.365,3.71), (16.255,3.78,16.45,4.15), (16.255,3.78,17.76,3.955), (9.775,3.96,16.45,4.15), (22.965,4.095,23.185,4.345), (22.895,5.015,23.165,5.315), (0,5.51,0.125,5.69), (0,5.87,21.055,6.05), (21.835,5.92,22.145,6.16), (0.22,6.05,0.525,6.17), (20.735,6.05,21.055,6.17)])
R(sky130_hilas_ta2cell_1fg, L51_0, [(10.52,0.45,10.62,0.55), (10.52,1.12,10.62,1.22), (16.665,3.1,16.765,3.2), (10.52,5.125,10.62,5.225), (10.52,5.795,10.62,5.895)])
R(sky130_hilas_ta2cell_1fg, L52_0, [(6.795,0.29,6.895,0.39), (12.595,0.29,12.695,0.39), (22.985,0.34,23.085,0.44), (22.985,0.54,23.085,0.64), (16.665,3.1,16.765,3.2), (23.02,4.18,23.12,4.28), (20.845,5.87,20.945,5.97), (0.315,5.97,0.415,6.07), (20.845,6.07,20.945,6.17)])
R(sky130_hilas_ta2cell_1fg, L132_0, [(2.65,0.005,2.875,0.135), (22.365,0.02,22.465,0.105), (25.075,6.195,25.345,6.32), (10.425,6.2,10.73,6.32), (13.755,6.2,13.985,6.32), (3.52,6.205,3.73,6.315), (20.275,6.205,20.465,6.315), (4.6,6.215,4.78,6.31), (0.77,6.225,0.96,6.32), (8.47,6.225,8.7,6.315), (12.535,6.225,12.765,6.31), (3.11,6.23,3.3,6.315), (2.64,6.245,2.845,6.32), (22.555,6.245,22.655,6.315)])
R(sky130_hilas_ta2cell_1fg, L133_0, [(0,0.64,0.19,0.82), (26.23,2.66,26.425,2.88), (26.215,3.48,26.425,3.71), (0,5.51,0.185,5.69)])
R(sky130_hilas_ta2cell_1fg, L143_0, [(10.08,0.28,11.02,6.065)])
sky130_hilas_ta2cell_1fg.add(gdstk.FlexPath([(22.415,3.36),(22.415,0)], 0.1, ends="flush", simple_path=True, layer=32, datatype=0))  # L32_0
sky130_hilas_ta2cell_1fg.add(gdstk.FlexPath([(22.605,6.02),(22.605,6.33)], 0.1, ends="flush", simple_path=True, layer=32, datatype=0))  # L32_0
sky130_hilas_ta2cell_1fg.add(gdstk.Reference(sky130_hilas_dualtacore0, (23.065,0.125)))
sky130_hilas_ta2cell_1fg.add(gdstk.Reference(sky130_hilas_fgbias2x1ce, (9.705,0)))
sky130_hilas_ta2cell_1fg.add(gdstk.Reference(sky130_hilas_fgtrans2x1c, (10.89,0), rotation=pi, x_reflection=True))
sky130_hilas_ta2cell_1fg.add(gdstk.Reference(c_sky130_hilas_ptransistor, (19.895,1.79), x_reflection=True))
sky130_hilas_ta2cell_1fg.add(gdstk.Reference(sky130_hilas_li2m2, (21.71,1.725)))
sky130_hilas_ta2cell_1fg.add(gdstk.Label('PROG', (3.68,6.235), layer=32, texttype=0))
sky130_hilas_ta2cell_1fg.add(gdstk.Label('RUN', (4.7,6.37), layer=32, texttype=0))
sky130_hilas_ta2cell_1fg.add(gdstk.Label('VIN12', (2.76,0.07), layer=32, texttype=0))
sky130_hilas_ta2cell_1fg.add(gdstk.Label('GATE2', (3.255,6.29), layer=32, texttype=0))
sky130_hilas_ta2cell_1fg.add(gdstk.Label('VIN11', (2.78,6.305), layer=32, texttype=0))
sky130_hilas_ta2cell_1fg.add(gdstk.Label('GATESEL2', (0.9,6.225), layer=32, texttype=0))
sky130_hilas_ta2cell_1fg.add(gdstk.Label('GATE1', (13.855,6.245), layer=32, texttype=0))
sky130_hilas_ta2cell_1fg.add(gdstk.Label('VTUN', (10.61,6.245), layer=32, texttype=0))
sky130_hilas_ta2cell_1fg.add(gdstk.Label('GATESEL1', (20.345,6.245), layer=32, texttype=0))
sky130_hilas_ta2cell_1fg.add(gdstk.Label('VINJ', (20.93,0.08), layer=32, texttype=0))
sky130_hilas_ta2cell_1fg.add(gdstk.Label('VPWR', (25.26,6.235), layer=32, texttype=0))
sky130_hilas_ta2cell_1fg.add(gdstk.Label('VIN21', (22.945,3.395), layer=33, texttype=0))
sky130_hilas_ta2cell_1fg.add(gdstk.Label('VIN22', (22.34,6.325), layer=31, texttype=0))
sky130_hilas_ta2cell_1fg.add(gdstk.Label('out_two', (26.335,3.565), layer=133, texttype=0))
sky130_hilas_ta2cell_1fg.add(gdstk.Label('out_one', (26.34,2.745), layer=133, texttype=0))
sky130_hilas_ta2cell_1fg.add(gdstk.Label('drain_two', (0.09,0.74), layer=133, texttype=0))
sky130_hilas_ta2cell_1fg.add(gdstk.Label('drain_one', (0.06,5.665), layer=133, texttype=0))
sky130_hilas_ta2cell_1fg.add(gdstk.Label('vin21', (22.42,0.07), layer=132, texttype=0))
sky130_hilas_ta2cell_1fg.add(gdstk.Label('vin12', (2.77,0.095), layer=132, texttype=0))
sky130_hilas_ta2cell_1fg.add(gdstk.Label('vpwr', (25.235,6.265), layer=132, texttype=0))
sky130_hilas_ta2cell_1fg.add(gdstk.Label('vin22', (22.605,6.28), layer=132, texttype=0))
sky130_hilas_ta2cell_1fg.add(gdstk.Label('colsel1', (20.385,6.27), layer=132, texttype=0))
sky130_hilas_ta2cell_1fg.add(gdstk.Label('gate1', (13.875,6.255), layer=132, texttype=0))
sky130_hilas_ta2cell_1fg.add(gdstk.Label('gnd2', (12.645,6.27), layer=132, texttype=0))
sky130_hilas_ta2cell_1fg.add(gdstk.Label('vtun', (10.585,6.26), layer=132, texttype=0))
sky130_hilas_ta2cell_1fg.add(gdstk.Label('gnd1', (8.59,6.265), layer=132, texttype=0))
sky130_hilas_ta2cell_1fg.add(gdstk.Label('run', (4.695,6.265), layer=132, texttype=0))
sky130_hilas_ta2cell_1fg.add(gdstk.Label('prog', (3.635,6.27), layer=132, texttype=0))
sky130_hilas_ta2cell_1fg.add(gdstk.Label('gate2', (3.215,6.29), layer=132, texttype=0))
sky130_hilas_ta2cell_1fg.add(gdstk.Label('vin11', (2.765,6.285), layer=132, texttype=0))
sky130_hilas_ta2cell_1fg.add(gdstk.Label('colsel2', (0.88,6.29), layer=132, texttype=0))

lib.write_gds('sky130_hilas_TA2Cell_1FG_Strong.gds')
